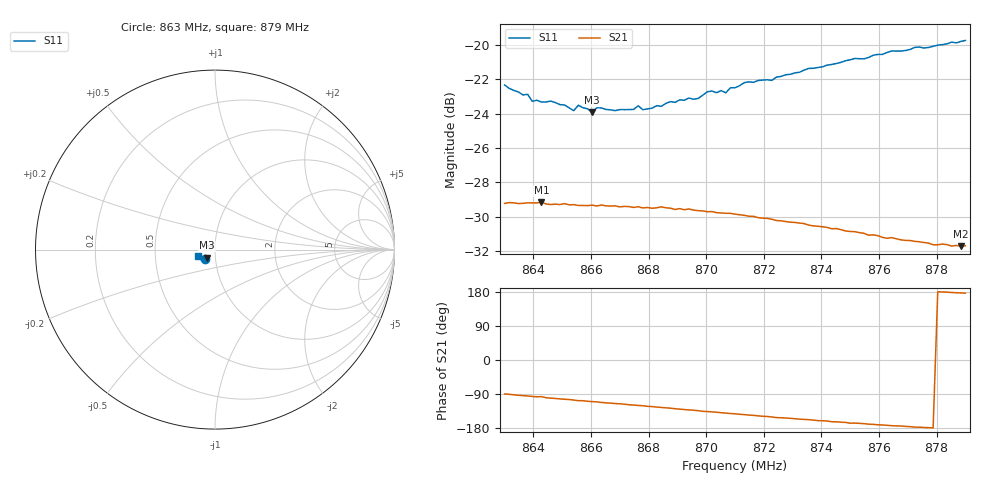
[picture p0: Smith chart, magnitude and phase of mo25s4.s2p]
# HZ S RI R 50
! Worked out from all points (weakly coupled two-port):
!   101 points, 863 MHz to 879 MHz, reference 50 ohm
!   highest |S21| = -29.16 dB at 864.28 MHz (marker M1); lowest = -31.7 dB at 878.84 MHz (marker M2)
!   lowest |S11| = -23.9 dB at 866.04 MHz (marker M3), VSWR 1.14, Z = 45.6 - j4.15 ohm
!   |S11| at or under -10 dB: start of sweep to end of sweep
!   S12 and S22 are empty: the file has one direction only
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8.63e8  -0.0577 -0.05  0.000244 -0.0346  0 0  0 0
8.638e8  -0.0546 -0.0466  -0.00299 -0.0346  0 0  0 0
8.6396e8  -0.0507 -0.0461  -0.0037 -0.0345  0 0  0 0
8.6428e8  -0.049 -0.0474  -0.00399 -0.0346  0 0  0 0
8.646e8  -0.0506 -0.0463  -0.00627 -0.0338  0 0  0 0
8.654e8  -0.0463 -0.0446  -0.00923 -0.033  0 0  0 0
8.6556e8  -0.0486 -0.0457  -0.0102 -0.0326  0 0  0 0
8.6572e8  -0.0456 -0.0471  -0.0102 -0.0325  0 0  0 0
8.6604e8  -0.0446 -0.0454  -0.0115 -0.0322  0 0  0 0
8.662e8  -0.0457 -0.047  -0.0119 -0.0318  0 0  0 0
8.6684e8  -0.0435 -0.0474  -0.0143 -0.0309  0 0  0 0
8.6844e8  -0.0423 -0.051  -0.0195 -0.0276  0 0  0 0
8.6972e8  -0.0445 -0.0538  -0.0228 -0.0238  0 0  0 0
8.7004e8  -0.0463 -0.0564  -0.0235 -0.0227  0 0  0 0
8.7068e8  -0.0463 -0.0558  -0.0248 -0.0208  0 0  0 0
8.71e8  -0.0495 -0.0564  -0.0253 -0.0198  0 0  0 0
8.7132e8  -0.0511 -0.0584  -0.0259 -0.0187  0 0  0 0
8.7228e8  -0.0544 -0.057  -0.027 -0.0154  0 0  0 0
8.7372e8  -0.0622 -0.0585  -0.0277 -0.0108  0 0  0 0
8.7644e8  -0.0817 -0.0502  -0.0273 -0.00317  0 0  0 0
8.7884e8  -0.096 -0.0351  -0.0259 0.00135  0 0  0 0
8.79e8  -0.0975 -0.033  -0.026 0.0016  0 0  0 0
